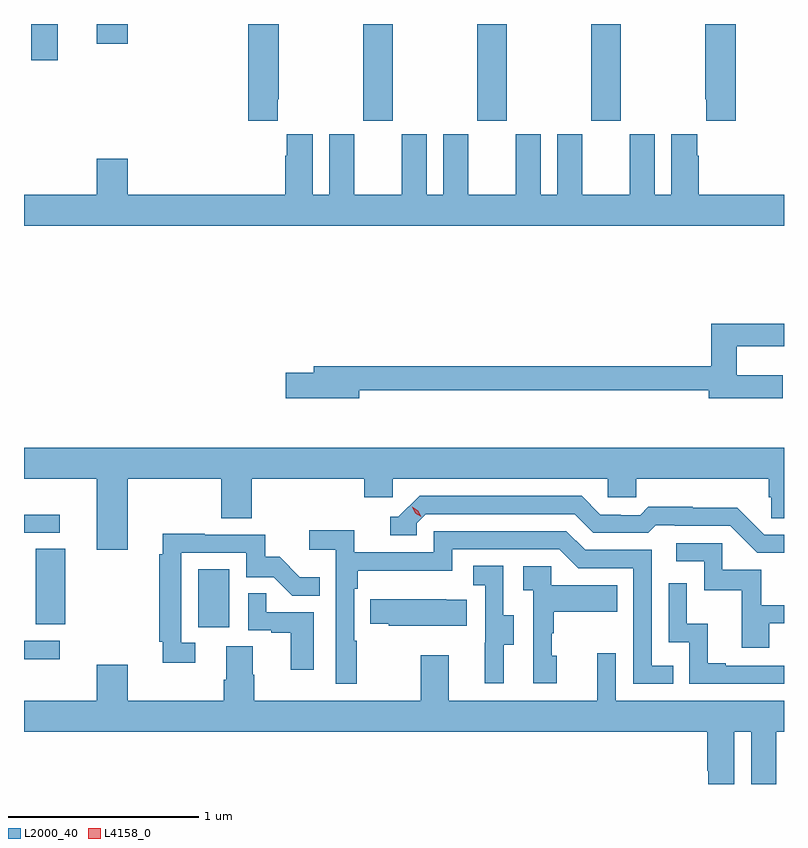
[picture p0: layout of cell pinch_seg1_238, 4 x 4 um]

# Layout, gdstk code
import gdstk
lib = gdstk.Library(unit=1e-6, precision=1e-09)
def R(c, l, rs):  # rectangles x0, y0, x1, y1
    for r in rs: c.add(gdstk.rectangle(r[:2], r[2:], *l))
def A(c, l, x, y, w, h, nx, ny, dx, dy):  # array of equal rectangles
    R(c, l, [(x+i*dx, y+j*dy, x+i*dx+w, y+j*dy+h) for i in range(nx) for j in range(ny)])
def P(c, l, *ps):  # polygons
    for p in ps: c.add(gdstk.Polygon(p, *l))
L2000_40 = (2000, 40)
L4158_0 = (4158, 0)

pinch_seg1_238 = lib.new_cell('pinch_seg1_238')
A(pinch_seg1_238, L2000_40, 897.679, 566.937, 0.155, 0.509, 3, 1, 0.6, 0)
R(pinch_seg1_238, L2000_40, [(895.893,564.103,896.08,564.201), (896.81,564.27,896.974,564.577), (895.955,564.286,896.111,564.683), (895.893,564.768,896.08,564.864), (895.931,567.255,896.071,567.446), (896.276,567.342,896.44,567.446)])
P(pinch_seg1_238, L2000_40, [(899.639,567.446),(899.479,567.446),(899.479,567.049),(899.483,567.049),(899.483,566.937),(899.639,566.937)],
  [(897.229,567.049),(897.234,567.049),(897.234,567.446),(897.074,567.446),(897.074,566.937),(897.229,566.937)],
  [(899.893,566.548),(899.444,566.548),(899.444,566.753),(899.437,566.753),(899.437,566.866),(899.3,566.866),(899.3,566.548),(899.212,566.548),(899.212,566.866),(899.081,566.866),(899.081,566.548),(898.831,566.548),(898.831,566.866),(898.7,566.866),(898.7,566.548),(898.612,566.548),(898.612,566.866),(898.481,566.866),(898.481,566.548),(898.231,566.548),(898.231,566.866),(898.1,566.866),(898.1,566.548),(898.012,566.548),(898.012,566.866),(897.881,566.866),(897.881,566.548),(897.631,566.548),(897.631,566.866),(897.5,566.866),(897.5,566.548),(897.412,566.548),(897.412,566.866),(897.275,566.866),(897.275,566.753),(897.269,566.753),(897.269,566.548),(896.44,566.548),(896.44,566.737),(896.276,566.737),(896.276,566.548),(895.893,566.548),(895.893,566.384),(899.893,566.384)],
  [(897.658,565.518),(899.498,565.518),(899.498,565.475),(899.887,565.475),(899.887,565.597),(899.645,565.597),(899.645,565.751),(899.893,565.751),(899.893,565.868),(899.509,565.868),(899.509,565.646),(897.419,565.646),(897.419,565.61),(897.27,565.61),(897.27,565.475),(897.658,565.475)],
  [(896.44,565.052),(896.932,565.052),(896.932,564.844),(897.092,564.844),(897.092,565.052),(897.683,565.052),(897.683,564.954),(897.834,564.954),(897.834,565.052),(898.965,565.052),(898.965,564.954),(899.115,564.954),(899.115,565.052),(899.813,565.052),(899.813,564.954),(899.827,564.954),(899.827,564.844),(899.893,564.844),(899.893,565.216),(895.893,565.216),(895.893,565.052),(896.276,565.052),(896.276,564.678),(896.44,564.678)],
  [(899.893,564.759),(899.79,564.759),(899.648,564.901),(899.412,564.901),(899.412,564.904),(899.179,564.904),(899.137,564.861),(899.034,564.861),(899.034,564.864),(898.927,564.864),(898.828,564.963),(897.975,564.963),(897.864,564.852),(897.821,564.852),(897.821,564.756),(897.96,564.756),(897.96,564.819),(898.008,564.867),(898.791,564.867),(898.89,564.768),(899.179,564.768),(899.218,564.807),(899.317,564.807),(899.317,564.804),(899.61,564.804),(899.751,564.663),(899.893,564.663)],
  [(897.643,564.2),(897.63,564.2),(897.63,564.473),(897.65,564.473),(897.65,564.569),(898.146,564.569),(898.146,564.681),(898.71,564.681),(898.809,564.582),(899.1,564.582),(899.1,563.973),(899.309,563.973),(899.309,564.069),(899.196,564.069),(899.196,564.678),(898.846,564.678),(898.747,564.777),(898.05,564.777),(898.05,564.666),(897.632,564.666),(897.632,564.782),(897.393,564.782),(897.393,564.68),(897.534,564.68),(897.534,563.973),(897.643,563.973)],
  [(896.794,564.189),(896.721,564.189),(896.721,564.663),(897.063,564.663),(897.063,564.534),(897.208,564.534),(897.306,564.436),(897.449,564.436),(897.449,564.535),(897.345,564.535),(897.238,564.642),(897.162,564.642),(897.162,564.759),(896.843,564.759),(896.843,564.764),(896.624,564.764),(896.624,564.656),(896.605,564.656),(896.605,564.196),(896.624,564.196),(896.624,564.084),(896.794,564.084)],
  [(899.815,564.291),(899.893,564.291),(899.893,564.387),(899.773,564.387),(899.773,564.573),(899.568,564.573),(899.568,564.714),(899.325,564.714),(899.325,564.618),(899.472,564.618),(899.472,564.465),(899.671,564.465),(899.671,564.162),(899.815,564.162)],
  [(898.417,564.178),(898.471,564.178),(898.471,564.333),(898.416,564.333),(898.416,564.596),(898.257,564.596),(898.257,564.493),(898.32,564.493),(898.32,564.189),(898.319,564.189),(898.319,563.976),(898.417,563.976)],
  [(898.696,564.12),(898.671,564.12),(898.671,564.239),(898.681,564.239),(898.681,564.353),(899.015,564.353),(899.015,564.493),(898.668,564.493),(898.668,564.591),(898.521,564.591),(898.521,564.467),(898.572,564.467),(898.572,563.976),(898.696,563.976)],
  [(899.893,564.069),(899.587,564.069),(899.587,564.082),(899.492,564.082),(899.492,564.29),(899.382,564.29),(899.382,564.502),(899.286,564.502),(899.286,564.192),(899.394,564.192),(899.394,563.973),(899.893,563.973)],
  [(897.418,564.351),(897.167,564.351),(897.167,564.449),(897.072,564.449),(897.072,564.255),(897.193,564.255),(897.193,564.243),(897.296,564.243),(897.296,564.048),(897.418,564.048)],
  [(898.223,564.415),(898.115,564.415),(898.115,564.418),(897.715,564.418),(897.715,564.289),(897.813,564.289),(897.813,564.278),(898.223,564.278)],
  [(899.632,563.72),(899.72,563.72),(899.72,563.446),(899.851,563.446),(899.851,563.72),(899.893,563.72),(899.893,563.884),(899.007,563.884),(899.007,564.133),(898.91,564.133),(898.91,563.884),(898.129,563.884),(898.129,564.124),(897.982,564.124),(897.982,563.884),(897.105,563.884),(897.105,564.021),(897.097,564.021),(897.097,564.17),(896.957,564.17),(896.957,563.996),(896.945,563.996),(896.945,563.884),(896.44,563.884),(896.44,564.073),(896.276,564.073),(896.276,563.884),(895.893,563.884),(895.893,563.72),(899.489,563.72),(899.489,563.515),(899.495,563.515),(899.495,563.446),(899.632,563.446)])
P(pinch_seg1_238, L4158_0, [(897.983,564.852),(897.952,564.872),(897.936,564.904),(897.936,564.905),(897.936,564.905),(897.967,564.885),(897.983,564.852),(897.983,564.852)])

lib.write_gds('pinch_seg1_238.gds')
